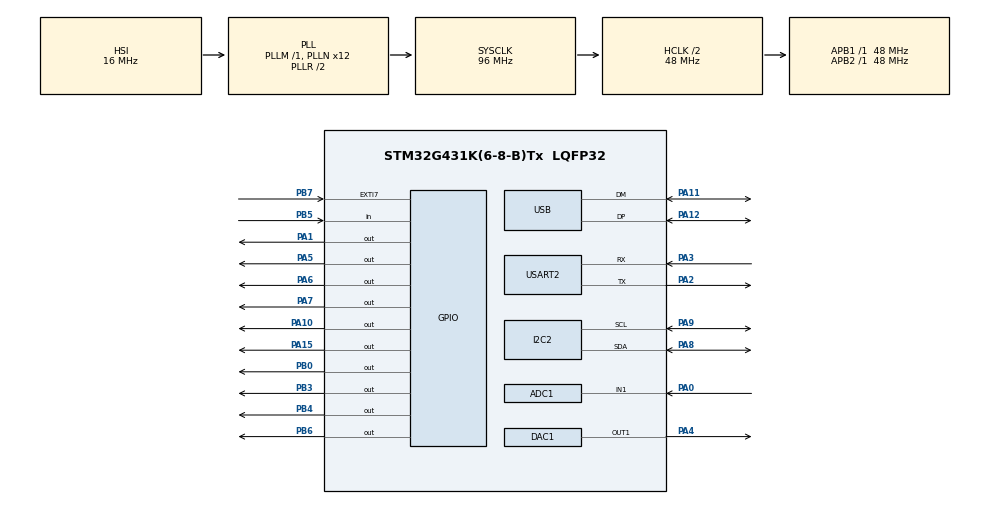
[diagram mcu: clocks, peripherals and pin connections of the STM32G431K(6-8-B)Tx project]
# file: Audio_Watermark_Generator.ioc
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ADC1.Channel-0\#ChannelRegularConversion=ADC_CHANNEL_1
ADC1.NbrOfConversion=1
ADC1.NbrOfConversionFlag=1
ADC1.OffsetNumber-0\#ChannelRegularConversion=ADC_OFFSET_NONE
ADC1.Rank-0\#ChannelRegularConversion=1
ADC1.SamplingTime-0\#ChannelRegularConversion=ADC_SAMPLETIME_640CYCLES_5
ADC1.master=1
DAC1.DAC_Trigger_OUT1-DAC_OUT1=DAC_TRIGGER_T2_TRGO
Dma.DAC1_CH1.0.Direction=DMA_MEMORY_TO_PERIPH
Dma.DAC1_CH1.0.EventEnable=DISABLE
Dma.DAC1_CH1.0.Instance=DMA1_Channel1
Dma.DAC1_CH1.0.MemDataAlignment=DMA_MDATAALIGN_WORD
Dma.DAC1_CH1.0.MemInc=DMA_MINC_ENABLE
Dma.DAC1_CH1.0.Mode=DMA_CIRCULAR
Dma.DAC1_CH1.0.PeriphDataAlignment=DMA_PDATAALIGN_WORD
Dma.DAC1_CH1.0.PeriphInc=DMA_PINC_DISABLE
Dma.DAC1_CH1.0.Polarity=HAL_DMAMUX_REQ_GEN_RISING
Dma.DAC1_CH1.0.Priority=DMA_PRIORITY_LOW
Dma.DAC1_CH1.0.RequestNumber=1
Dma.DAC1_CH1.0.SignalID=NONE
Dma.DAC1_CH1.0.SyncEnable=DISABLE
Dma.DAC1_CH1.0.SyncPolarity=HAL_DMAMUX_SYNC_NO_EVENT
Dma.DAC1_CH1.0.SyncRequestNumber=1
Dma.DAC1_CH1.0.SyncSignalID=NONE
Dma.Request0=DAC1_CH1
I2C2.Timing=0x10805D88
Mcu.Family=STM32G4
Mcu.Name=STM32G431K(6-8-B)Tx
Mcu.Package=LQFP32
NVIC.DMA1_Channel1_IRQn=true\:0\:0\:false\:false\:true\:false\:true\:true
NVIC.PriorityGroup=NVIC_PRIORITYGROUP_4
NVIC.RTC_WKUP_IRQn=true\:0\:0\:false\:false\:true\:true\:true\:true
NVIC.TIM6_DAC_IRQn=true\:0\:0\:false\:false\:true\:true\:true\:true
NVIC.USB_LP_IRQn=true\:0\:0\:false\:false\:true\:false\:true\:true
PA0.Mode=IN1-Single-Ended
PA0.Signal=ADC1_IN1
PA1.Signal=GPIO_Output
PA10.Signal=GPIO_Output
PA11.Mode=Device
PA11.Signal=USB_DM
PA12.Mode=Device
PA12.Signal=USB_DP
PA13.Mode=Serial_Wire
PA13.Signal=SYS_JTMS-SWDIO
PA14.Mode=Serial_Wire
PA14.Signal=SYS_JTCK-SWCLK
PA15.Signal=GPIO_Output
PA2.Mode=Asynchronous
PA2.Signal=USART2_TX
PA3.Mode=Asynchronous
PA3.Signal=USART2_RX
PA4.Signal=COMP_DAC11_group
PA5.Signal=GPIO_Output
PA6.Signal=GPIO_Output
PA7.Signal=GPIO_Output
PA8.Mode=I2C
PA8.Signal=I2C2_SDA
PA9.Mode=I2C
PA9.Signal=I2C2_SCL
PB0.Signal=GPIO_Output
PB3.Signal=GPIO_Output
PB4.Signal=GPIO_Output
PB5.Signal=GPIO_Input
PB6.Signal=GPIO_Output
PB7.Signal=GPXTI7
PF0-OSC_IN.Mode=HSE-External-Oscillator
PF0-OSC_IN.Signal=RCC_OSC_IN
PF1-OSC_OUT.Mode=HSE-External-Oscillator
PF1-OSC_OUT.Signal=RCC_OSC_OUT
ProjectManager.HeapSize=0x400
ProjectManager.StackSize=0x800
ProjectManager.TargetToolchain=CMake
RCC.ADC12Freq_Value=96000000
RCC.AHBCLKDivider=RCC_SYSCLK_DIV2
RCC.AHBFreq_Value=48000000
RCC.APB1Freq_Value=48000000
RCC.APB1TimFreq_Value=48000000
RCC.APB2Freq_Value=48000000
RCC.APB2TimFreq_Value=48000000
RCC.CortexFreq_Value=48000000
RCC.EXTERNAL_CLOCK_VALUE=12288000
RCC.HCLKFreq_Value=48000000
RCC.HSE_VALUE=16000000
RCC.HSI48_VALUE=48000000
RCC.HSI_VALUE=16000000
RCC.LSE_VALUE=32768
RCC.PLLN=12
RCC.PLLQ=RCC_PLLQ_DIV4
RCC.SYSCLKFreq_VALUE=96000000
RCC.SYSCLKSource=RCC_SYSCLKSOURCE_PLLCLK
RCC.USBFreq_Value=48000000
RCC.VCOOutputFreq_Value=192000000
RTC.WakeUpClock=RTC_WAKEUPCLOCK_CK_SPRE_16BITS
RTC.WakeUpCounter=59
SH.COMP_DAC11_group.0=DAC1_OUT1,DAC_OUT1
TIM2.PeriodNoDither=49
TIM2.TIM_MasterOutputTrigger=TIM_TRGO_UPDATE
TIM6.Prescaler=47999
USART2.VirtualMode-Asynchronous=VM_ASYNC
USB_DEVICE.CLASS_NAME_FS=CDC
USB_DEVICE.VirtualMode=Cdc
USB_DEVICE.VirtualModeFS=Cdc_FS
VP_RTC_VS_RTC_Activate.Mode=RTC_Enabled
VP_RTC_VS_RTC_WakeUp_intern.Mode=WakeUp
VP_SYS_VS_DBSignals.Mode=DisableDeadBatterySignals
VP_TIM2_VS_ClockSourceINT.Mode=Internal
VP_TIM6_VS_ClockSourceINT.Mode=Enable_Timer
VP_USB_DEVICE_VS_USB_DEVICE_CDC_FS.Mode=CDC_FS
board=custom

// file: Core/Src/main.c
/* USER CODE BEGIN Header */
/**
 ******************************************************************************
 * @file           : main.c
 * @brief          : Main program body
 ******************************************************************************
 * @attention
 *
 * Copyright (c) 2026 STMicroelectronics.
 * All rights reserved.
 *
 * This software is licensed under terms that can be found in the LICENSE file
 * in the root directory of this software component.
 * If no LICENSE file comes with this software, it is provided AS-IS.
 *
 ******************************************************************************
 */
/* USER CODE END Header */
#include "main.h"
#include "speaker.h"
#include "usb_device.h"

/* USER CODE BEGIN Includes */

// Include headers for custom modules
#include "battery.h"
#include "cc1101.h"
#include "cc1101_config.h"
#include "ds3231.h"
#include "error_codes.h"
#include "flash_flag.h"
#include "frequency_config.h"
#include "led_feedback.h"
#include "log.h"
#include "opamps.h"
#include "radio.h"
#include "reed_solomon.h"
#include "relay.h"
#include "speaker.h"
#include "user_config.h"
#include "wakeup.h"

// Standard library includes
#include <cmsis_gcc.h>
#include <math.h>
#include <stdbool.h>
#include <stddef.h>
#include <stdint.h>
#include <stdio.h>
#include <stdlib.h>
#include <stm32g431xx.h>
#include <stm32g4xx.h>
#include <stm32g4xx_hal.h>
#include <stm32g4xx_hal_dac.h>
#include <stm32g4xx_hal_def.h>
#include <stm32g4xx_hal_gpio.h>
#include <string.h>
#include <sys/_intsup.h>
#include <sys/types.h>
#include <unistd.h>
#include <usbd_cdc_if.h>

/* USER CODE END Includes */

/* USER CODE BEGIN PD */

#define pi 3.14159265358979323846f

#define LEN_IF(cond, lit) ((cond) ? (sizeof(lit) - 1u) : 0u)

#define MAX_NUM_CHARS                                                          \
  (LEN_IF(INCLUDE_USER_STRING, "/STR" USER_STRING) +                           \
   LEN_IF(INCLUDE_DEVICE_ID, "/DID0000") +                                     \
   LEN_IF(INCLUDE_LOCATION, "/LOC00.0000,00.0000") +                           \
   LEN_IF(INCLUDE_TEMPERATURE, "/TMP000") +                                    \
   LEN_IF(INCLUDE_TIME, "/TIM00000000000000") + 4u)

#define MAX_PAYLOAD_BYTES (MAX_NUM_CHARS + RS_ERROR_CORRECTION_SYMBOLS)
#define BITSTREAM_LENGTH (1u + (MAX_PAYLOAD_BYTES * 8u) + 8u)

#define BIT_POLARITY 0

#define DS3231_ADDR (0x68 << 1) // 7-bit addr shifted for HAL
#define T4B_I2C_ADDR_7BIT 0x20
#define T4B_I2C_ADDR_HAL (T4B_I2C_ADDR_7BIT << 1) // 0x40 for HAL

#define DIV_FLOOR(n, d) ((uint32_t)((n) / (d)))
#define DIV_ROUND(n, d) ((uint32_t)(((n) + ((d) / 2u)) / (d)))

#define OUTPUT_SEGMENT 500
#define BUFFER_SIZE (OUTPUT_SEGMENT * 5)

#define SYNC_DELAY_MS 350

/* USER CODE END PD */

ADC_HandleTypeDef hadc1;

DAC_HandleTypeDef hdac1;
DMA_HandleTypeDef hdma_dac1_ch1;

I2C_HandleTypeDef hi2c2;

RTC_HandleTypeDef hrtc;

TIM_HandleTypeDef htim2;
TIM_HandleTypeDef htim6;

UART_HandleTypeDef huart2;

/* USER CODE BEGIN PV */

char input_string[MAX_NUM_CHARS] = {0};

uint8_t bitstream[BITSTREAM_LENGTH] = {0};

volatile uint8_t active_done = 0;

rtc_time_t now = {.seconds = 0,
                  .minutes = 0,
                  .hours = 0,
                  .day = 4,
                  .date = 1,
                  .month = 1,
                  .year = 1970};

int8_t temp_int = 99;

static uint32_t sine_val_low[LUT_LOW_SAMPLES];
static uint32_t sine_val_high[LUT_HIGH_SAMPLES];
static uint32_t dc_mid[LUT_LOW_SAMPLES];

// Pulse Calculation Variables
uint32_t fs = 0;
float total_time = 0.0;

// FSK
typedef struct {
  size_t bit_index;
  size_t current_period;
  size_t current_index;
} FillResult;

__ALIGN_BEGIN uint32_t output_buffer[BUFFER_SIZE] __ALIGN_END;

volatile bool tx_active = true;
volatile size_t current_bitstream_index = 0;
volatile size_t current_sine_period = 0;
volatile size_t current_sine_index = 0;
FillResult result;

uint8_t transmission[256] = {0};
int dBm_value = 0;

freq_pair_t freq_pair = {0};

volatile status_code_t g_error_code = STATUS_CODE_OK;

extern volatile uint8_t cdc_rx_buf[64];
extern volatile uint8_t cdc_rx_len;

uint32_t wake_up_tick = 0;

bool first_boot = true;

extern PCD_HandleTypeDef hpcd_USB_FS;

/* USER CODE END PV */

void SystemClock_Config(void);
static void MX_GPIO_Init(void);
static void MX_DMA_Init(void);
static void MX_ADC1_Init(void);
static void MX_DAC1_Init(void);
static void MX_I2C2_Init(void);
static void MX_TIM2_Init(void);
static void MX_TIM6_Init(void);
static void MX_USART2_UART_Init(void);
static void MX_RTC_Init(void);
/* USER CODE BEGIN PFP */

void EnterStopMode(void);
void calculate_active_duration_ms(size_t bitstream_len);
void StartActiveWindowMs(uint32_t ms);
void make_bitstream_from_bytes(const uint8_t *data, size_t length);
void update_input_string(void);
int make_preamble(int start_idx);
void get_sineval_low(void);
void get_sineval_high(void);
void get_dc_mid(void);
uint32_t get_dac_sample_rate_hz(void);
static void RTC_SetWakeupTimer(uint32_t seconds);

static void start_audio_arm(void);
static void start_audio_trigger(void);
static void stop_audio_transmission(void);

void app_radio_test(void);

void read_buffer(void);

void process_transmission(uint8_t *transmission, int *dBm_value);

void create_payload_string(const char *user_string, int device_id,
                           const char *location, int8_t temperature,
                           rtc_time_t time_val, bool include_message_id,
                           int8_t message_id, int8_t rssi_dbm,
                           uint8_t *output_str, size_t output_str_size);

void create_string_from_received_data(const uint8_t *transmission, int rssi_dbm,
                                      uint8_t *output_str,
                                      size_t output_str_size);

static int init_luts_from_freqpair(void);

void Error_Handler_Code(status_code_t code);

void TryReceiveTimeSync(void);

/* USER CODE END PFP */

int main(void) {

  /* MCU Configuration--------------------------------------------------------*/

  /* Reset of all peripherals, Initializes the Flash interface and the Systick.
   */
  HAL_Init();

  /* Configure the system clock */
  SystemClock_Config();

  /* Initialize all configured peripherals */
  MX_GPIO_Init();
  MX_DMA_Init();
  MX_ADC1_Init();
  MX_DAC1_Init();
  MX_I2C2_Init();
  MX_TIM2_Init();
  MX_TIM6_Init();
  MX_USART2_UART_Init();
  MX_RTC_Init();
  MX_USB_Device_Init();
  /* USER CODE BEGIN 2 */

  if (OPERATION_MODE == 0) {
    LOGF("Starting in RX mode\r\n");
  } else if (OPERATION_MODE == 1) {
    LOGF("Starting in TX mode\r\n");
  } else {
    LOGF("Starting in Standalone mode\r\n");
  }

  //-----------------------------------------------------------------------------//
  // Set DAC output to mid-level (silence) before starting for RX and Standalone
  //-----------------------------------------------------------------------------//

  if (OPERATION_MODE == 0 || OPERATION_MODE == 2) {
    DAC_SetMidlevel(&hdac1, 2048);
  }

  //-----------------------------------------------------------------------------//
  // Initialize UART logging
  //-----------------------------------------------------------------------------//

  LOGF("\r\n");
  LOGF("UART boot OK\r\n");
  HAL_Delay(200);

  /* USER CODE END 2 */

  /* Infinite loop */
  /* USER CODE BEGIN WHILE */

  //-----------------------------------------------------------------------------//
  // Initialize RTC
  //-----------------------------------------------------------------------------//

  if (!FlashFlag_TimeWasSet()) {
    TryReceiveTimeSync();

    FlashFlag_SetTimeWasSet();
  }

  DS3231_PowerOn();
  DS3231_GetTime(&now);
  DS3231_ReadTemperature(&temp_int);
  DS3231_PowerOff();

  LOGF("Current RTC time: %02d:%02d:%02d, %02d/%02d/%04d, DOW: %u\r\n",
       now.hours, now.minutes, now.seconds, now.date, now.month,
       now.year + 2000, now.day);
  LOGF("Temperature: %d°C\r\n", temp_int);

  LOGF("-------------------------\r\n");
  LOGF("\r\n");

  //-----------------------------------------------------------------------------//
  // Set first valid minute for wakeup based on current time and user-configured
  // interval
  //-----------------------------------------------------------------------------//

  if (OPERATION_MODE != 0) {
    WakeUp_Init(now);
  } else {
    LOGF("RX mode - skipping wakeup timer configuration\r\n");
  }

  //-----------------------------------------------------------------------------//
  // Check battery voltage and go back to sleep if low
  //-----------------------------------------------------------------------------//

  Battery_IsLow(&hadc1);

  //-----------------------------------------------------------------------------//
  // Get DAC sample rate and log it
  //-----------------------------------------------------------------------------//

  uint32_t dac_sample_rate = get_dac_sample_rate_hz();
  LOGF("DAC sample rate: %lu Hz\r\n", (unsigned long)dac_sample_rate);
  LOGF("\r\n");

  //-----------------------------------------------------------------------------//
  // Find and set FSK frequencies based on user config and sample count
  // requirements (RX and Standalone modes)
  //-----------------------------------------------------------------------------//
  if (OPERATION_MODE != 1) {
    freq_pair = FreqConfig_FindFreqPair(dac_sample_rate);

    LOGF("Frequency pair: lower=%u Hz, higher=%u Hz\r\n",
         (unsigned int)freq_pair.lower_freq,
         (unsigned int)freq_pair.higher_freq);
    LOGF("--------------------------\r\n");
    LOGF("\r\n");
  } else {
    LOGF("Skipping finding frequencies\r\n");
  }

  //-----------------------------------------------------------------------------//
  // Prepare sine wave lookup tables
  //-----------------------------------------------------------------------------//

  if (OPERATION_MODE != 1) {
    if (init_luts_from_freqpair() != 0) {
      LOGF("LUT alloc failed\r\n");
      LOGF("--------------------------\r\n");
      Error_Handler_Code(STATUS_CODE_LUT_ALLOC_FAIL);
    }

    get_sineval_low();
    get_sineval_high();
    get_dc_mid();
  } else {
    LOGF("Skipping LUT preparation \r\n");
  }

  //-----------------------------------------------------------------------------//
  // Initialize radio for RX or TX mode
  //-----------------------------------------------------------------------------//

  if (OPERATION_MODE != 2) {
    HAL_Delay(20);
    int8_t init_result = Radio_Init(OPERATION_MODE);
    if (init_result != 0) {
      LOGF("Failed to initialize radio in %s mode, error code: %d\r\n",
           OPERATION_MODE == 0 ? "RX" : "TX", init_result);
      LOGF("--------------------------\r\n");
      LOGF("\r\n");
      Error_Handler_Code(init_result);
    }

    // Wait for crystal to stabilize
    uint8_t timeout = 100; // 100ms max
    while (timeout--) {
      uint8_t xosc_val = 0;
      uint8_t status = 0;
      CC1101_ReadReg(0x24, &xosc_val, &status); // 0x24 is XOSC register

      if (xosc_val & 0x01) { // XOSC_STABLE bit
        break;
      }
      HAL_Delay(1);
    }

    if (timeout == 0) {
      printf("ERROR: XOSC failed to stabilize\n");
    } else {
      printf("XOSC stabilized\n");
    }
    HAL_Delay(10);
    // int8_t cal_result = Radio_CalibrateXtalFrequency();
    // if (cal_result != 0) {
    //   LOGF("Warning: XTAL calibration returned error %d\r\n", cal_result);
    // }
  } else {
    LOGF("No radio in standalone mode - skipping radio initialization\r\n");

    // Power down CC1101 since we don't use it in standalone
    HAL_Delay(20);
    CC1101_PowerUpReset();
    HAL_Delay(10);

    // Put it in sleep to save power
    Radio_EnterSleep();
    LOGF("CC1101 powered down for standalone mode\r\n");
  }

  //-----------------------------------------------------------------------------//
  // Indicate boot complete with LED blinks
  //-----------------------------------------------------------------------------//

  LED_BlinkStatusCode(STATUS_CODE_OK); // code 0 = "0000" = 4 short blinks

  //-----------------------------------------------------------------------------//
  // Configure first wakeup timer for TX and Standalone modes
  //-----------------------------------------------------------------------------//

  Relay_SetBypassMode();
  if (OPERATION_MODE != 0) {
    LOGF("Setting first alarm for TX and Standalone mode\r\n");
    RTC_SetWakeupTimer(1); // 1 minute
  }

  //-----------------------------------------------------------------------------//
  // Main loop
  //-----------------------------------------------------------------------------//
  LOGF("\r\n");
  LOGF("Entering main loop...\r\n");
  LOGF("\r\n");

  DS3231_PowerOn();
  HAL_Delay(40);
  DS3231_GetTime(&now);
  DS3231_ReadTemperature(&temp_int);
  DS3231_PowerOff();

  int32_t wait_ms = 0;

  while (1) {
    // 1) Enter STOP mode and wait for wakeup from EXTI (GPIOB Pin 7) or RTC
    // wakeup timer
    LOGF("Entering STOP mode...\r\n");
    EnterStopMode();
    wake_up_tick = HAL_GetTick();
    DS3231_PowerOn();

    // Set new wake up alarm for next cycle immediately after waking up
    // 55 seconds ensure we wake up in every minute to check if it's the valid
    // minute for operation, even if we miss the exact wakeup timer match due to
    // timing variations
    if (OPERATION_MODE != 0) {
      uint32_t sleep_seconds = 55;
      RTC_SetWakeupTimer(sleep_seconds);
    }

    // 2) Check battery voltage and go back to sleep if low
    Battery_IsLow(&hadc1);

    // Update current minute from RTC
    DS3231_GetTime(&now);
    DS3231_ReadTemperature(&temp_int);

    // Check if we are in the active window based on the current minute and
    // configured intervals, and if not, go back to sleep
    // Only for TX and Standalone modes
    if (OPERATION_MODE != 0) {
      if (!WakeUp_CheckCurrentMinute(now)) {
        LOGF("Took %lu ms to check wakeup time\r\n",
             (unsigned long)(HAL_GetTick() - wake_up_tick));
        LOGF("Not in active window, going back to sleep...\r\n");
        DS3231_PowerOff();
        continue;
      }
    }

    if (OPERATION_MODE == 0) {
      LOGF("Woke up for RX reception\r\n");
      DS3231_PowerOn();

      if (USE_CABLE_TRANSMISSION) {
        Opamps_Enable(&hdac1);
        Relay_SetMixingMode();
      } else {
        Speaker_TurnOn();
      }

      // RX mode: read from radio and store in string
      int rx_len = Radio_Receive(transmission, sizeof(transmission));
      if (rx_len <= 4 || memchr(transmission, '/', rx_len) == NULL) {
        LOGF(
            "Failed to receive valid transmission, going back to sleep...\r\n");
        DS3231_PowerOff();
        Radio_EnterWOR();
        continue;
      }

      // Process received transmission
      process_transmission(transmission, &dBm_value);

      // 2) Get current time from RTC
      DS3231_GetTime(&now);
      DS3231_ReadTemperature(&temp_int);
      DS3231_PowerOff();

      // Create output string based on received data (e.g.
      // "/TIM.../STR.../DID.../LOC.../TMP...")
      uint8_t output_str[256] = {0};
      create_string_from_received_data(transmission, dBm_value, output_str,
                                       sizeof(output_str));

      size_t payload_len = strlen((char *)output_str);

      if (USE_REED_SOLOMON_ERROR_CORRECTION) {
        // Prepare buffer for Reed-Solomon codeword (message + parity)
        uint8_t codeword[payload_len + RS_ERROR_CORRECTION_SYMBOLS];
        memset(codeword, 0, sizeof(codeword));

        // Encode the output string using Reed-Solomon
        RS_EncodeMsg((const uint8_t *)output_str, (int)payload_len, codeword,
                     RS_ERROR_CORRECTION_SYMBOLS);

        // Set output_str to the codeword for transmission (truncated to fit
        // if necessary)
        size_t codeword_len = payload_len + RS_ERROR_CORRECTION_SYMBOLS;
        if (codeword_len > sizeof(output_str)) {
          codeword_len = sizeof(output_str);
        }
        memcpy(output_str, codeword, codeword_len);
        payload_len = codeword_len;
      }

      // Make bitstream from output string
      make_bitstream_from_bytes(output_str, payload_len);

      calculate_active_duration_ms(BITSTREAM_LENGTH);
      uint32_t total_ms = (uint32_t)(total_time * 1000.0f);

      start_audio_arm();

      uint32_t target_tick = wake_up_tick + SYNC_DELAY_MS;
      wait_ms = (int32_t)(target_tick - HAL_GetTick());
      if (wait_ms > 1) {
        HAL_Delay((uint32_t)(wait_ms - 1));
      }
      while (__HAL_UART_GET_FLAG(&huart2, UART_FLAG_TC) == RESET)
        ;
      __HAL_UART_DISABLE(&huart2);
      while (HAL_GetTick() < target_tick)
        ;
      (void)SysTick->CTRL; // clear COUNTFLAG by reading it
      // Now align to the next SysTick rollover for sub-ms precision
      // SysTick counts DOWN from LOAD to 0, then reloads - catch the reload
      // moment
      while ((SysTick->CTRL & SysTick_CTRL_COUNTFLAG_Msk) == 0)
        ;

      start_audio_trigger();
      __HAL_UART_ENABLE(&huart2);

      // Wait for active window to complete (enters low-power sleep while
      // waiting)
      StartActiveWindowMs((uint32_t)(total_ms));

      uint32_t last_toggle = HAL_GetTick();
      while (!active_done) {
        uint32_t now = HAL_GetTick();
        if ((now - last_toggle) >= 100) { // blink every 100 ms
          last_toggle = now;
          LED_Toggle();
        }
        __WFI(); // CPU sleeps while DMA+TIM2+DAC run
      }
      active_done = 0;
      HAL_GPIO_WritePin(LED_GPIO_Port, LED_Pin, GPIO_PIN_RESET);

      // Stop transmission and go back to sleep
      stop_audio_transmission();

      Radio_EnterWOR();

    } else if (OPERATION_MODE == 1) {
      LOGF("Woke up for TX transmission\r\n");
      Radio_EnterIdle();

      // Send transmission over radio
      LOGF("Starting transmission over radio...\r\n");
      // Toggle on Relay to make click sound at start of transmission for easier
      // analysis
      Relay_SetMixingMode();

      LED_ON();

      uint32_t radio_tx_start = HAL_GetTick();
      Radio_Transmit();
      uint32_t radio_tx_end = HAL_GetTick();

      LOGF("Radio transmission took %lu ms\r\n",
           (unsigned long)(radio_tx_end - radio_tx_start));
      Relay_SetBypassMode();
      LED_OFF();

      Radio_EnterSleep();
    } else {
      LOGF("Woke up for Standalone mode\r\n");
      DS3231_PowerOn();

      if (USE_CABLE_TRANSMISSION) {
        Opamps_Enable(&hdac1);
        Relay_SetMixingMode();
      } else {
        Speaker_TurnOn();
      }

      // 1) Get current time and temperature from RTC
      DS3231_GetTime(&now);
      DS3231_ReadTemperature(&temp_int);
      DS3231_PowerOff();

      // Create output string based on received data (e.g.
      // "/TIM.../STR.../DID.../LOC.../TMP...")
      uint8_t output_str[256] = {0};
      create_payload_string(INCLUDE_USER_STRING ? USER_STRING : NULL,
                            INCLUDE_DEVICE_ID ? DEVICE_ID : -1,
                            INCLUDE_LOCATION ? LOCATION : NULL,
                            INCLUDE_TEMPERATURE ? temp_int : -1, now, false, -1,
                            0, output_str, sizeof(output_str));

      size_t payload_len = strlen((char *)output_str);

      if (USE_REED_SOLOMON_ERROR_CORRECTION) {
        // Prepare buffer for Reed-Solomon codeword (message + parity)
        uint8_t codeword[payload_len + RS_ERROR_CORRECTION_SYMBOLS];
        memset(codeword, 0, sizeof(codeword));

        // Encode the output string using Reed-Solomon
        RS_EncodeMsg((const uint8_t *)output_str, (int)payload_len, codeword,
                     RS_ERROR_CORRECTION_SYMBOLS);

        // Set output_str to the codeword for transmission (truncated to fit
        // if necessary)
        size_t codeword_len = payload_len + RS_ERROR_CORRECTION_SYMBOLS;
        if (codeword_len > sizeof(output_str)) {
          codeword_len = sizeof(output_str);
        }
        memcpy(output_str, codeword, codeword_len);
        payload_len = codeword_len;
      }

      // Make bitstream from output string
      make_bitstream_from_bytes(output_str, payload_len);

      calculate_active_duration_ms(BITSTREAM_LENGTH);
      uint32_t total_ms = (uint32_t)(total_time * 1000.0f);

      start_audio_arm();

      uint32_t target_tick = wake_up_tick + SYNC_DELAY_MS;
      wait_ms = (int32_t)(target_tick - HAL_GetTick());
      if (wait_ms > 1) {
        HAL_Delay((uint32_t)(wait_ms - 1));
      }
      while (__HAL_UART_GET_FLAG(&huart2, UART_FLAG_TC) == RESET)
        ;
      __HAL_UART_DISABLE(&huart2);
      while (HAL_GetTick() < target_tick)
        ;
      (void)SysTick->CTRL; // clear COUNTFLAG by reading it
      // Now align to the next SysTick rollover for sub-ms precision
      // SysTick counts DOWN from LOAD to 0, then reloads - catch the reload
      // moment
      while ((SysTick->CTRL & SysTick_CTRL_COUNTFLAG_Msk) == 0)
        ;

      start_audio_trigger();

      // Wait for active window to complete (enters low-power sleep while
      // waiting)
      StartActiveWindowMs((uint32_t)(total_ms));

      uint32_t last_toggle = HAL_GetTick();
      uint32_t now = 0;
      while (!active_done) {
        now = HAL_GetTick();
        if ((now - last_toggle) >= 100) { // blink every 100 ms
          last_toggle = now;
          LED_Toggle();
        }
        __WFI(); // CPU sleeps while DMA+TIM2+DAC run
      }
      active_done = 0;
      HAL_GPIO_WritePin(LED_GPIO_Port, LED_Pin, GPIO_PIN_RESET);

      // Stop transmission and go back to sleep
      stop_audio_transmission();
    }

    /* USER CODE END WHILE */

  }
}

void SystemClock_Config(void) {
  RCC_OscInitTypeDef RCC_OscInitStruct = {0};
  RCC_ClkInitTypeDef RCC_ClkInitStruct = {0};

  /** Configure the main internal regulator output voltage
   */
  HAL_PWREx_ControlVoltageScaling(PWR_REGULATOR_VOLTAGE_SCALE1);

  /** Initializes the RCC Oscillators according to the specified parameters
   * in the RCC_OscInitTypeDef structure.
   */
  RCC_OscInitStruct.OscillatorType =
      RCC_OSCILLATORTYPE_HSI | RCC_OSCILLATORTYPE_LSI;
  RCC_OscInitStruct.HSIState = RCC_HSI_ON;
  RCC_OscInitStruct.HSICalibrationValue = RCC_HSICALIBRATION_DEFAULT;
  RCC_OscInitStruct.LSIState = RCC_LSI_ON;
  RCC_OscInitStruct.PLL.PLLState = RCC_PLL_ON;
  RCC_OscInitStruct.PLL.PLLSource = RCC_PLLSOURCE_HSI;
  RCC_OscInitStruct.PLL.PLLM = RCC_PLLM_DIV1;
  RCC_OscInitStruct.PLL.PLLN = 12;
  RCC_OscInitStruct.PLL.PLLP = RCC_PLLP_DIV2;
  RCC_OscInitStruct.PLL.PLLQ = RCC_PLLQ_DIV4;
  RCC_OscInitStruct.PLL.PLLR = RCC_PLLR_DIV2;
  if (HAL_RCC_OscConfig(&RCC_OscInitStruct) != HAL_OK) {
    Error_Handler();
  }

  /** Initializes the CPU, AHB and APB buses clocks
   */
  RCC_ClkInitStruct.ClockType = RCC_CLOCKTYPE_HCLK | RCC_CLOCKTYPE_SYSCLK |
                                RCC_CLOCKTYPE_PCLK1 | RCC_CLOCKTYPE_PCLK2;
  RCC_ClkInitStruct.SYSCLKSource = RCC_SYSCLKSOURCE_PLLCLK;
  RCC_ClkInitStruct.AHBCLKDivider = RCC_SYSCLK_DIV2;
  RCC_ClkInitStruct.APB1CLKDivider = RCC_HCLK_DIV1;
  RCC_ClkInitStruct.APB2CLKDivider = RCC_HCLK_DIV1;

  if (HAL_RCC_ClockConfig(&RCC_ClkInitStruct, FLASH_LATENCY_1) != HAL_OK) {
    Error_Handler();
  }
}

static void MX_ADC1_Init(void) {

  ADC_MultiModeTypeDef multimode = {0};
  ADC_ChannelConfTypeDef sConfig = {0};

  /** Common config
   */
  hadc1.Instance = ADC1;
  hadc1.Init.ClockPrescaler = ADC_CLOCK_SYNC_PCLK_DIV2;
  hadc1.Init.Resolution = ADC_RESOLUTION_12B;
  hadc1.Init.DataAlign = ADC_DATAALIGN_RIGHT;
  hadc1.Init.GainCompensation = 0;
  hadc1.Init.ScanConvMode = ADC_SCAN_DISABLE;
  hadc1.Init.EOCSelection = ADC_EOC_SINGLE_CONV;
  hadc1.Init.LowPowerAutoWait = DISABLE;
  hadc1.Init.ContinuousConvMode = DISABLE;
  hadc1.Init.NbrOfConversion = 1;
  hadc1.Init.DiscontinuousConvMode = DISABLE;
  hadc1.Init.ExternalTrigConv = ADC_SOFTWARE_START;
  hadc1.Init.ExternalTrigConvEdge = ADC_EXTERNALTRIGCONVEDGE_NONE;
  hadc1.Init.DMAContinuousRequests = DISABLE;
  hadc1.Init.Overrun = ADC_OVR_DATA_PRESERVED;
  hadc1.Init.OversamplingMode = DISABLE;
  if (HAL_ADC_Init(&hadc1) != HAL_OK) {
    Error_Handler();
  }

  /** Configure the ADC multi-mode
   */
  multimode.Mode = ADC_MODE_INDEPENDENT;
  if (HAL_ADCEx_MultiModeConfigChannel(&hadc1, &multimode) != HAL_OK) {
    Error_Handler();
  }

  /** Configure Regular Channel
   */
  sConfig.Channel = ADC_CHANNEL_1;
  sConfig.Rank = ADC_REGULAR_RANK_1;
  sConfig.SamplingTime = ADC_SAMPLETIME_640CYCLES_5;
  sConfig.SingleDiff = ADC_SINGLE_ENDED;
  sConfig.OffsetNumber = ADC_OFFSET_NONE;
  sConfig.Offset = 0;
  if (HAL_ADC_ConfigChannel(&hadc1, &sConfig) != HAL_OK) {
    Error_Handler();
  }
}

static void MX_DAC1_Init(void) {

  DAC_ChannelConfTypeDef sConfig = {0};

  /** DAC Initialization
   */
  hdac1.Instance = DAC1;
  if (HAL_DAC_Init(&hdac1) != HAL_OK) {
    Error_Handler();
  }

  /** DAC channel OUT1 config
   */
  sConfig.DAC_HighFrequency = DAC_HIGH_FREQUENCY_INTERFACE_MODE_AUTOMATIC;
  sConfig.DAC_DMADoubleDataMode = DISABLE;
  sConfig.DAC_SignedFormat = DISABLE;
  sConfig.DAC_SampleAndHold = DAC_SAMPLEANDHOLD_DISABLE;
  sConfig.DAC_Trigger = DAC_TRIGGER_T2_TRGO;
  sConfig.DAC_Trigger2 = DAC_TRIGGER_NONE;
  sConfig.DAC_OutputBuffer = DAC_OUTPUTBUFFER_ENABLE;
  sConfig.DAC_ConnectOnChipPeripheral = DAC_CHIPCONNECT_EXTERNAL;
  sConfig.DAC_UserTrimming = DAC_TRIMMING_FACTORY;
  if (HAL_DAC_ConfigChannel(&hdac1, &sConfig, DAC_CHANNEL_1) != HAL_OK) {
    Error_Handler();
  }
}

static void MX_I2C2_Init(void) {
  /* USER CODE BEGIN I2C2_Init 0 */
  __HAL_RCC_I2C2_CLK_ENABLE(); // <-- ADD THIS

  /* USER CODE END I2C2_Init 0 */

  hi2c2.Instance = I2C2;
  hi2c2.Init.Timing = 0x10805D88;
  hi2c2.Init.OwnAddress1 = 0;
  hi2c2.Init.AddressingMode = I2C_ADDRESSINGMODE_7BIT;
  hi2c2.Init.DualAddressMode = I2C_DUALADDRESS_DISABLE;
  hi2c2.Init.OwnAddress2 = 0;
  hi2c2.Init.OwnAddress2Masks = I2C_OA2_NOMASK;
  hi2c2.Init.GeneralCallMode = I2C_GENERALCALL_DISABLE;
  hi2c2.Init.NoStretchMode = I2C_NOSTRETCH_DISABLE;
  if (HAL_I2C_Init(&hi2c2) != HAL_OK) {
    Error_Handler();
  }

  /** Configure Analogue filter
   */
  if (HAL_I2CEx_ConfigAnalogFilter(&hi2c2, I2C_ANALOGFILTER_ENABLE) != HAL_OK) {
    Error_Handler();
  }

  /** Configure Digital filter
   */
  if (HAL_I2CEx_ConfigDigitalFilter(&hi2c2, 0) != HAL_OK) {
    Error_Handler();
  }
}

static void MX_RTC_Init(void) {

  /** Initialize RTC Only
   */
  hrtc.Instance = RTC;
  hrtc.Init.HourFormat = RTC_HOURFORMAT_24;
  hrtc.Init.AsynchPrediv = 127;
  hrtc.Init.SynchPrediv = 255;
  hrtc.Init.OutPut = RTC_OUTPUT_DISABLE;
  hrtc.Init.OutPutRemap = RTC_OUTPUT_REMAP_NONE;
  hrtc.Init.OutPutPolarity = RTC_OUTPUT_POLARITY_HIGH;
  hrtc.Init.OutPutType = RTC_OUTPUT_TYPE_OPENDRAIN;
  hrtc.Init.OutPutPullUp = RTC_OUTPUT_PULLUP_NONE;
  if (HAL_RTC_Init(&hrtc) != HAL_OK) {
    Error_Handler();
  }

  /** Enable the WakeUp
   */
  if (HAL_RTCEx_SetWakeUpTimer_IT(&hrtc, 59, RTC_WAKEUPCLOCK_CK_SPRE_16BITS) !=
      HAL_OK) {
    Error_Handler();
  }
  /* USER CODE BEGIN RTC_Init 2 */

  // Stop the RTC wakeup timer for now - we'll start it when we go to sleep
  HAL_RTCEx_DeactivateWakeUpTimer(&hrtc);

  /* USER CODE END RTC_Init 2 */
}

static void MX_TIM2_Init(void) {

  TIM_ClockConfigTypeDef sClockSourceConfig = {0};
  TIM_MasterConfigTypeDef sMasterConfig = {0};

  htim2.Instance = TIM2;
  htim2.Init.Prescaler = 0;
  htim2.Init.CounterMode = TIM_COUNTERMODE_UP;
  htim2.Init.Period = 24;
  htim2.Init.ClockDivision = TIM_CLOCKDIVISION_DIV1;
  htim2.Init.AutoReloadPreload = TIM_AUTORELOAD_PRELOAD_DISABLE;
  if (HAL_TIM_Base_Init(&htim2) != HAL_OK) {
    Error_Handler();
  }
  sClockSourceConfig.ClockSource = TIM_CLOCKSOURCE_INTERNAL;
  if (HAL_TIM_ConfigClockSource(&htim2, &sClockSourceConfig) != HAL_OK) {
    Error_Handler();
  }
  sMasterConfig.MasterOutputTrigger = TIM_TRGO_UPDATE;
  sMasterConfig.MasterSlaveMode = TIM_MASTERSLAVEMODE_DISABLE;
  if (HAL_TIMEx_MasterConfigSynchronization(&htim2, &sMasterConfig) != HAL_OK) {
    Error_Handler();
  }
}

static void MX_TIM6_Init(void) {

  TIM_MasterConfigTypeDef sMasterConfig = {0};

  htim6.Instance = TIM6;
  htim6.Init.Prescaler = 47999;
  htim6.Init.CounterMode = TIM_COUNTERMODE_UP;
  htim6.Init.Period = 65535;
  htim6.Init.AutoReloadPreload = TIM_AUTORELOAD_PRELOAD_DISABLE;
  if (HAL_TIM_Base_Init(&htim6) != HAL_OK) {
    Error_Handler();
  }
  sMasterConfig.MasterOutputTrigger = TIM_TRGO_RESET;
  sMasterConfig.MasterSlaveMode = TIM_MASTERSLAVEMODE_DISABLE;
  if (HAL_TIMEx_MasterConfigSynchronization(&htim6, &sMasterConfig) != HAL_OK) {
    Error_Handler();
  }
}

static void MX_USART2_UART_Init(void) {

  huart2.Instance = USART2;
  huart2.Init.BaudRate = 115200;
  huart2.Init.WordLength = UART_WORDLENGTH_8B;
  huart2.Init.StopBits = UART_STOPBITS_1;
  huart2.Init.Parity = UART_PARITY_NONE;
  huart2.Init.Mode = UART_MODE_TX_RX;
  huart2.Init.HwFlowCtl = UART_HWCONTROL_NONE;
  huart2.Init.OverSampling = UART_OVERSAMPLING_16;
  huart2.Init.OneBitSampling = UART_ONE_BIT_SAMPLE_DISABLE;
  huart2.Init.ClockPrescaler = UART_PRESCALER_DIV1;
  huart2.AdvancedInit.AdvFeatureInit = UART_ADVFEATURE_NO_INIT;
  if (HAL_UART_Init(&huart2) != HAL_OK) {
    Error_Handler();
  }
  if (HAL_UARTEx_SetTxFifoThreshold(&huart2, UART_TXFIFO_THRESHOLD_1_8) !=
      HAL_OK) {
    Error_Handler();
  }
  if (HAL_UARTEx_SetRxFifoThreshold(&huart2, UART_RXFIFO_THRESHOLD_1_8) !=
      HAL_OK) {
    Error_Handler();
  }
  if (HAL_UARTEx_DisableFifoMode(&huart2) != HAL_OK) {
    Error_Handler();
  }
}

static void MX_DMA_Init(void) {
  /* DMA controller clock enable */
  __HAL_RCC_DMAMUX1_CLK_ENABLE();
  __HAL_RCC_DMA1_CLK_ENABLE();

  /* DMA interrupt init */
  /* DMA1_Channel1_IRQn interrupt configuration */
  HAL_NVIC_SetPriority(DMA1_Channel1_IRQn, 0, 0);
  HAL_NVIC_EnableIRQ(DMA1_Channel1_IRQn);
}

static void MX_GPIO_Init(void) {
  GPIO_InitTypeDef GPIO_InitStruct = {0};

  /* GPIO Ports Clock Enable */
  __HAL_RCC_GPIOF_CLK_ENABLE();
  __HAL_RCC_GPIOA_CLK_ENABLE();
  __HAL_RCC_GPIOB_CLK_ENABLE();

  /*Configure GPIO pin Output Level */
  HAL_GPIO_WritePin(GPIOA,
                    GPIO_PIN_1 | GPIO_PIN_5 | GPIO_PIN_6 | GPIO_PIN_7 |
                        GPIO_PIN_10 | GPIO_PIN_15,
                    GPIO_PIN_RESET);

  /*Configure GPIO pin Output Level */
  HAL_GPIO_WritePin(GPIOB, GPIO_PIN_0 | GPIO_PIN_3 | GPIO_PIN_4 | GPIO_PIN_6,
                    GPIO_PIN_RESET);

  /*Configure GPIO pins : PA1 PA5 PA6 PA7
                           PA10 PA15 */
  GPIO_InitStruct.Pin = GPIO_PIN_1 | GPIO_PIN_5 | GPIO_PIN_6 | GPIO_PIN_7 |
                        GPIO_PIN_10 | GPIO_PIN_15;
  GPIO_InitStruct.Mode = GPIO_MODE_OUTPUT_PP;
  GPIO_InitStruct.Pull = GPIO_NOPULL;
  GPIO_InitStruct.Speed = GPIO_SPEED_FREQ_LOW;
  HAL_GPIO_Init(GPIOA, &GPIO_InitStruct);

  /*Configure GPIO pins : PB0 PB3 PB4 PB6 */
  GPIO_InitStruct.Pin = GPIO_PIN_0 | GPIO_PIN_3 | GPIO_PIN_4 | GPIO_PIN_6;
  GPIO_InitStruct.Mode = GPIO_MODE_OUTPUT_PP;
  GPIO_InitStruct.Pull = GPIO_NOPULL;
  GPIO_InitStruct.Speed = GPIO_SPEED_FREQ_LOW;
  HAL_GPIO_Init(GPIOB, &GPIO_InitStruct);

  /*Configure GPIO pin : PB5 */
  GPIO_InitStruct.Pin = GPIO_PIN_5;
  GPIO_InitStruct.Mode = GPIO_MODE_INPUT;
  GPIO_InitStruct.Pull = GPIO_NOPULL;
  HAL_GPIO_Init(GPIOB, &GPIO_InitStruct);

  /*Configure GPIO pin : PB7 */
  GPIO_InitStruct.Pin = GPIO_PIN_7;
  GPIO_InitStruct.Mode = GPIO_MODE_IT_RISING;
  GPIO_InitStruct.Pull = GPIO_NOPULL;
  HAL_GPIO_Init(GPIOB, &GPIO_InitStruct);

}

/* USER CODE BEGIN 4 */

void EnterStopMode(void) {
  __HAL_GPIO_EXTI_CLEAR_IT(GPIO_PIN_7);
  HAL_NVIC_ClearPendingIRQ(EXTI9_5_IRQn);
  __HAL_RTC_WAKEUPTIMER_CLEAR_FLAG(&hrtc, RTC_FLAG_WUTF);
  PWR->SCR = PWR_SCR_CWUF;

  DBGMCU->CR &=
      ~(DBGMCU_CR_DBG_STOP | DBGMCU_CR_DBG_SLEEP | DBGMCU_CR_DBG_STANDBY);

  if (OPERATION_MODE == 0) {
    HAL_RTCEx_DeactivateWakeUpTimer(&hrtc);
    HAL_NVIC_EnableIRQ(EXTI9_5_IRQn);
  } else {
    HAL_NVIC_DisableIRQ(EXTI9_5_IRQn);
    HAL_NVIC_EnableIRQ(RTC_WKUP_IRQn);
  }

  __DSB();
  __ISB();
  HAL_SuspendTick();
  HAL_PWREx_EnterSTOP1Mode(PWR_STOPENTRY_WFI);

  SystemClock_Config();
  HAL_ResumeTick();
  HAL_GPIO_WritePin(GPIOA, GPIO_PIN_15, GPIO_PIN_SET);
  MX_I2C2_Init();
  MX_USART2_UART_Init();
  __HAL_UART_ENABLE(&huart2); // <-- ADD THIS

  // // Force USB peripheral reset and reinit
  // HAL_PCD_DeInit(&hpcd_USB_FS); // Deinit the PCD handle first
  // HAL_Delay(10);
  // MX_USB_Device_Init();

  // HAL_Delay(5000); // <-- ADD THIS: wait for USB to stabilize

  HAL_Delay(10);
  HAL_GPIO_WritePin(GPIOA, GPIO_PIN_15, GPIO_PIN_RESET);
  wake_up_tick = HAL_GetTick();

  // RX only: wait for GDO0 to deassert after wakeup
  if (OPERATION_MODE == 0) {
    uint32_t settle = HAL_GetTick();
    while (HAL_GPIO_ReadPin(GPIOB, GPIO_PIN_7) == GPIO_PIN_RESET &&
           HAL_GetTick() - settle < 5) {
    }
  }

  HAL_NVIC_EnableIRQ(EXTI9_5_IRQn);
  if (OPERATION_MODE == 0) {
    __HAL_GPIO_EXTI_CLEAR_IT(GPIO_PIN_7);
    HAL_NVIC_ClearPendingIRQ(EXTI9_5_IRQn);
  } else {
    __HAL_RTC_WAKEUPTIMER_CLEAR_FLAG(&hrtc, RTC_FLAG_WUTF);
  }
  __HAL_PWR_CLEAR_FLAG(PWR_FLAG_WU);
  PWR->SCR = PWR_SCR_CWUF;
}

void StartActiveWindowMs(uint32_t ms) {
  active_done = 0;

  if (ms == 0) {
    ms = 1;
  }

  HAL_TIM_Base_Stop_IT(&htim6);
  __HAL_TIM_SET_COUNTER(&htim6, 0);
  __HAL_TIM_SET_AUTORELOAD(&htim6, ms - 1);

  __HAL_TIM_CLEAR_FLAG(&htim6, TIM_FLAG_UPDATE);
  __HAL_TIM_CLEAR_IT(&htim6, TIM_IT_UPDATE);

  HAL_TIM_Base_Start_IT(&htim6);
}

void HAL_TIM_PeriodElapsedCallback(TIM_HandleTypeDef *htim) {
  if (htim->Instance == TIM6) {
    HAL_TIM_Base_Stop_IT(&htim6); // <- makes it one-shot reliably
    active_done = 1;
  }
}

int make_preamble(int start_idx) {
  int k = start_idx;
  uint16_t id = 0x2DD4;
  for (int i = 0; i < 16 && k < BITSTREAM_LENGTH; ++i) {
    bitstream[k++] = (((id >> (15 - i)) & 1) ^ BIT_POLARITY);
  }

  return k;
}
void make_bitstream_from_bytes(const uint8_t *data, size_t length) {
  size_t k = 0;

  if (k < BITSTREAM_LENGTH) {
    bitstream[k++] = 2; // silence
  }

  for (size_t i = 0; i < length && k < BITSTREAM_LENGTH; ++i) {
    for (int b = 7; b >= 0 && k < BITSTREAM_LENGTH; --b) {
      bitstream[k++] = (uint8_t)(((data[i] >> b) & 1u) ^ BIT_POLARITY);
    }
  }

  for (int i = 0; i < 8 && k < BITSTREAM_LENGTH; ++i) {
    bitstream[k++] = 2; // silence
  }

  while (k < BITSTREAM_LENGTH) {
    bitstream[k++] = 2; // silence
  }
}

void update_input_string(void) {
  input_string[0] = '\0';
  size_t offset = 0;
  size_t remaining = MAX_NUM_CHARS;
  int n = 0;

  // Append USER_STRING if enabled
  if (INCLUDE_USER_STRING) {
    n = snprintf(&input_string[offset], remaining, "/STR%s", USER_STRING);
    if (n > 0 && (size_t)n < remaining) {
      offset += (size_t)n;
      remaining -= (size_t)n;
    }
  }
  // Append DEVICE_ID if enabled
  if (INCLUDE_DEVICE_ID) {
    n = snprintf(&input_string[offset], remaining, "%s/DID%d",
                 (offset > 0) ? "" : "", DEVICE_ID);
    if (n > 0 && (size_t)n < remaining) {
      offset += (size_t)n;
      remaining -= (size_t)n;
    }
  }
  // Append LOCATION if enabled
  if (INCLUDE_LOCATION) {
    n = snprintf(&input_string[offset], remaining, "%s/LOC%s",
                 (offset > 0) ? "" : "", LOCATION);
    if (n > 0 && (size_t)n < remaining) {
      offset += (size_t)n;
      remaining -= (size_t)n;
    }
  }
  // Append TEMPERATURE if enabled
  if (INCLUDE_TEMPERATURE) {
    n = snprintf(&input_string[offset], remaining, "%s/TMP%d",
                 (offset > 0) ? "" : "", temp_int);
    if (n > 0 && (size_t)n < remaining) {
      offset += (size_t)n;
      remaining -= (size_t)n;
    }
  }
  // Append TIME if enabled
  if (INCLUDE_TIME) {
    n = snprintf(&input_string[offset], remaining,
                 "%s/TIM%02d%02d%02d%02d%02d%02d%04d", (offset > 0) ? "" : "",
                 now.hours, now.minutes, now.seconds, now.day, now.date,
                 now.month, now.year);

    if (n > 0 && (size_t)n < remaining) {
      offset += (size_t)n;
      remaining -= (size_t)n;
    }
  }
  // Add termination sign
  if (strlen(input_string) > 0) {
    n = snprintf(&input_string[offset], remaining, "/");
    if (n > 0 && (size_t)n < remaining) {
      offset += (size_t)n;
      remaining -= (size_t)n;
    }
  }
}

// Function to generate sine wave lookup table for low frequency
void get_sineval_low(void) {
  const float dac_max = 4095.0f;
  const float dac_mid = dac_max / 2.0f;
  const float amplitude = (1.5f / 1.65f) * (SIGNAL_ATTENUATION / 100.0f);

  for (uint16_t i = 0; i < freq_pair.lower_freq_samples; i++) {
    sine_val_low[i] =
        (uint32_t)(dac_mid *
                   (1.0 + sinf(2.0 * pi * i / freq_pair.lower_freq_samples) *
                              amplitude));
  }
}

// Function to generate sine wave lookup table for the high frequency
void get_sineval_high(void) {
  const float dac_max = 4095.0f;
  const float dac_mid = dac_max / 2.0f;
  const float amplitude = (1.5f / 1.65f) * (SIGNAL_ATTENUATION / 100.0f);

  for (uint16_t i = 0; i < freq_pair.higher_freq_samples; i++) {
    sine_val_high[i] =
        (uint32_t)(dac_mid *
                   (1.0 + sinf(2.0 * pi * i / freq_pair.higher_freq_samples) *
                              amplitude));
  }
}

void get_dc_mid(void) {
  uint32_t mid_value = (uint32_t)(4095.0 / 2.0);
  for (uint16_t i = 0; i < freq_pair.lower_freq_samples; i++) {
    dc_mid[i] = mid_value;
  }
}

uint32_t get_dac_sample_rate_hz(void) {
  uint32_t tim_clk = HAL_RCC_GetPCLK1Freq();
  if ((RCC->CFGR & RCC_CFGR_PPRE1) != RCC_CFGR_PPRE1_DIV1)
    tim_clk *= 2; // timer clock doubled if APB prescaler != 1

  return tim_clk / ((htim2.Init.Prescaler + 1) * (htim2.Init.Period + 1));
}

void calculate_active_duration_ms(size_t bitstream_len) {
  fs = get_dac_sample_rate_hz();

  float f_0 = (float)fs / (float)freq_pair.lower_freq_samples;
  float f_1 = (float)fs / (float)freq_pair.higher_freq_samples;

  float f_0_bit_duration = (float)freq_pair.lower_freq_periods / f_0;
  float f_1_bit_duration = (float)freq_pair.higher_freq_periods / f_1;

  // Exact bitstream time
  total_time = 0.0f;
  for (int i = 0; i < bitstream_len; ++i) {
    if (bitstream[i] == 0) {
      total_time += f_0_bit_duration;
    } else if (bitstream[i] == 1) {
      total_time += f_1_bit_duration;
    } else {
      total_time += f_0_bit_duration; // silence
    }
  }

  // Add silence time
  // total_time *= 1.05f;                            // 5% margin
}

static inline FillResult
fill_half_buffer(uint32_t *buffer, size_t generation_size,
                 const uint8_t *bitstream, size_t bitstream_len,
                 size_t bit_index, size_t current_sine_period,
                 size_t current_sine_index) {
  size_t out = 0;
  size_t period = current_sine_period;
  size_t idx = current_sine_index;

  while (out < generation_size) {
    // If finished, just output mid forever (prevents repeats)
    if (bit_index >= bitstream_len) {
      for (; out < generation_size; ++out) {
        buffer[out] = dc_mid[0];
      }
      break;
    }

    uint8_t cur_bit = bitstream[bit_index];

    /* Select LUT + target periods for THIS bit */
    const uint32_t *lut;
    size_t lut_len;
    size_t target_periods;

    if (cur_bit == 0) {
      lut = sine_val_low;
      lut_len = freq_pair.lower_freq_samples;
      target_periods = freq_pair.lower_freq_periods;
    } else if (cur_bit == 1) {
      lut = sine_val_high;
      lut_len = freq_pair.higher_freq_samples;
      target_periods = freq_pair.higher_freq_periods;
    } else { // silence
      lut = dc_mid;
      lut_len = freq_pair.lower_freq_samples;
      target_periods = freq_pair.lower_freq_periods;
    }

    /* Copy as much as we can from current LUT position */
    size_t left_buf = generation_size - out;
    size_t left_lut = lut_len - idx;
    size_t n = (left_buf < left_lut) ? left_buf : left_lut;

    memcpy(&buffer[out], &lut[idx], n * sizeof(uint32_t));
    out += n;
    idx += n;

    /* Completed one period? */
    if (idx == lut_len) {
      idx = 0;
      period++;

      /* Completed this bit? -> advance to next bit */
      if (period == target_periods) {
        period = 0;
        if (bit_index + 1u < bitstream_len) {
          bit_index++;
        } else {
          // reached end -> hold at end
          bit_index = bitstream_len;
        }
      }
    }
  }

  return (FillResult){
      .bit_index = bit_index, .current_period = period, .current_index = idx};
}

// DMA Half Transfer Complete callback
void HAL_DAC_ConvHalfCpltCallbackCh1(DAC_HandleTypeDef *hdac) {
  if (!tx_active)
    return;

  FillResult r =
      fill_half_buffer((uint32_t *)&output_buffer[0], BUFFER_SIZE / 2,
                       bitstream, BITSTREAM_LENGTH, current_bitstream_index,
                       current_sine_period, current_sine_index);

  current_bitstream_index = r.bit_index;
  current_sine_period = r.current_period;
  current_sine_index = r.current_index;
}

// DMA Transfer Complete callback
void HAL_DAC_ConvCpltCallbackCh1(DAC_HandleTypeDef *hdac) {
  if (!tx_active)
    return;

  FillResult r = fill_half_buffer((uint32_t *)&output_buffer[BUFFER_SIZE / 2],
                                  BUFFER_SIZE / 2, bitstream, BITSTREAM_LENGTH,
                                  current_bitstream_index, current_sine_period,
                                  current_sine_index);

  current_bitstream_index = r.bit_index;
  current_sine_period = r.current_period;
  current_sine_index = r.current_index;
}

static void start_audio_arm(void) {
  current_bitstream_index = 0;
  current_sine_period = 0;
  current_sine_index = 0;
  tx_active = true;

  FillResult r1 =
      fill_half_buffer((uint32_t *)&output_buffer[0], BUFFER_SIZE / 2,
                       bitstream, BITSTREAM_LENGTH, current_bitstream_index,
                       current_sine_period, current_sine_index);

  current_bitstream_index = r1.bit_index;
  current_sine_period = r1.current_period;
  current_sine_index = r1.current_index;

  FillResult r2 = fill_half_buffer((uint32_t *)&output_buffer[BUFFER_SIZE / 2],
                                   BUFFER_SIZE / 2, bitstream, BITSTREAM_LENGTH,
                                   current_bitstream_index, current_sine_period,
                                   current_sine_index);

  current_bitstream_index = r2.bit_index;
  current_sine_period = r2.current_period;
  current_sine_index = r2.current_index;

  // Clean start
  HAL_TIM_Base_Stop(&htim2);
  HAL_DAC_Stop_DMA(&hdac1, DAC_CHANNEL_1);

  DMA1->IFCR =
      DMA_IFCR_CGIF1 | DMA_IFCR_CTCIF1 | DMA_IFCR_CHTIF1 | DMA_IFCR_CTEIF1;
  NVIC_ClearPendingIRQ(DMA1_Channel1_IRQn);

  HAL_StatusTypeDef st =
      HAL_DAC_Start_DMA(&hdac1, DAC_CHANNEL_1, (uint32_t *)output_buffer,
                        BUFFER_SIZE, DAC_ALIGN_12B_R);

  if (st != HAL_OK) {
    LOGF("  HAL_DAC_Start_DMA error: %d\r\n", st);
    Error_Handler_Code(STATUS_CODE_TRANSMISSION_ERROR);
  }

  // Ensure trigger enabled; TIM2 not started yet
  SET_BIT(DAC1->CR, DAC_CR_TEN1);
}

static void start_audio_trigger(void) {
  __HAL_TIM_SET_COUNTER(&htim2, 0);
  HAL_StatusTypeDef st = HAL_TIM_Base_Start(&htim2);
  if (st != HAL_OK) {
    LOGF("  HAL_TIM_Base_Start error: %d\r\n", st);
    Error_Handler_Code(STATUS_CODE_TRANSMISSION_ERROR);
  }
}

static void stop_audio_transmission(void) {
  tx_active = false;

  Speaker_TurnOff();
  Relay_SetBypassMode();

  // Stop trigger + DMA first
  HAL_TIM_Base_Stop(&htim2);
  HAL_DAC_Stop_DMA(&hdac1, DAC_CHANNEL_1);

  Opamps_Disable(&hdac1);

  DMA1->IFCR =
      DMA_IFCR_CGIF1 | DMA_IFCR_CTCIF1 | DMA_IFCR_CHTIF1 | DMA_IFCR_CTEIF1;
  NVIC_ClearPendingIRQ(DMA1_Channel1_IRQn);
}

void string_to_hex(const char *str, uint8_t *hex_buf, size_t hex_buf_size) {
  size_t str_len = strlen(str);
  size_t max_bytes =
      (hex_buf_size < (str_len / 2)) ? hex_buf_size : (str_len / 2);

  for (size_t i = 0; i < max_bytes; i++) {
    sscanf(&str[i * 2], "%2hhx", &hex_buf[i]);
  }
}

void process_transmission(uint8_t *transmission, int *dBm_value) {
  size_t len = strlen((const char *)transmission);
  if (len <= 4) {
    LOGF("Transmission too short to process.\r\n");
    return;
  }

  uint8_t rssi_hex = transmission[len - 2]; // 2nd from end

  int8_t rssi_signed = (int8_t)rssi_hex; // 2's complement

  int rssi_dbm = (rssi_signed / 2) - 74; // integer dBm

  dBm_value[0] = (int)rssi_dbm;

  // Create cleaned string: skip first 2 char, skip last 2 chars
  size_t cleaned_len = (len > 4) ? (len - 4) : 0;
  char cleaned_str[MAX_NUM_CHARS] = {0};
  if (cleaned_len > 0) {
    strncpy(cleaned_str, (const char *)transmission + 2, cleaned_len);
    cleaned_str[cleaned_len] = '\0'; // Null-terminate
  }

  // Overwrite the transmission parameter (cast needed for const)
  strncpy((char *)transmission, cleaned_str, MAX_NUM_CHARS - 1);
}

void create_payload_string(const char *user_str, int device_id,
                           const char *location, int8_t temperature,
                           rtc_time_t time_val, bool INCLUDE_MESSAGE_ID,
                           int8_t message_id, int8_t rssi_dbm,
                           uint8_t *output_str, size_t output_str_size) {
  if (!output_str || output_str_size == 0)
    return;

  char temp_buf[256] = {0};
  size_t offset = 0;
  size_t remaining = sizeof(temp_buf);
  int n = 0;

  output_str[0] = '\0';

  // Append MID if enabled
  if (INCLUDE_MESSAGE_ID) {
    n = snprintf(&temp_buf[offset], remaining, "/MID%02d", message_id);
    if (n > 0 && (size_t)n < remaining) {
      offset += (size_t)n;
      remaining -= (size_t)n;
    }
  }

  if (INCLUDE_TIME) {
    n = snprintf(&temp_buf[offset], remaining,
                 "%s/TIM%02d%02d%02d%02d%02d%02d%04d", (offset > 0) ? "" : "",
                 time_val.hours, time_val.minutes, time_val.seconds,
                 time_val.day, time_val.date, time_val.month, time_val.year);
    if (n > 0 && (size_t)n < remaining) {
      offset += (size_t)n;
      remaining -= (size_t)n;
    }
  }

  // // ADD RSSI ONLY IF rssi_dbm IS NOT 0 (RX mode only)
  // // In Standalone mode, rssi_dbm defaults to 0, so this block is skipped
  // if (rssi_dbm != 0) {
  //   n = snprintf(&temp_buf[offset], remaining, "%s/RSSI%d",
  //                (offset > 0) ? "" : "", rssi_dbm);
  //   if (n > 0 && (size_t)n < remaining) {
  //     offset += (size_t)n;
  //     remaining -= (size_t)n;
  //   }
  // }

  if (INCLUDE_USER_STRING) {
    n = snprintf(&temp_buf[offset], remaining, "/STR%s", user_str);
    if (n > 0 && (size_t)n < remaining) {
      offset += (size_t)n;
      remaining -= (size_t)n;
    }
  }

  if (INCLUDE_DEVICE_ID) {
    n = snprintf(&temp_buf[offset], remaining, "%s/DID%d",
                 (offset > 0) ? "" : "", device_id);
    if (n > 0 && (size_t)n < remaining) {
      offset += (size_t)n;
      remaining -= (size_t)n;
    }
  }

  if (INCLUDE_LOCATION) {
    n = snprintf(&temp_buf[offset], remaining, "%s/LOC%s",
                 (offset > 0) ? "" : "", location);
    if (n > 0 && (size_t)n < remaining) {
      offset += (size_t)n;
      remaining -= (size_t)n;
    }
  }

  if (INCLUDE_TEMPERATURE) {
    n = snprintf(&temp_buf[offset], remaining, "%s/TMP%d",
                 (offset > 0) ? "" : "", temperature);
    if (n > 0 && (size_t)n < remaining) {
      offset += (size_t)n;
      remaining -= (size_t)n;
    }
  }

  // Add termination slash
  if (strlen(temp_buf) > 0) {
    n = snprintf(&temp_buf[offset], remaining, "/");
    if (n > 0 && (size_t)n < remaining) {
      offset += (size_t)n;
      remaining -= (size_t)n;
    }
  }

  // Hard guarantee null-termination
  output_str[output_str_size - 1] = '\0';

  // Copy ASCII bytes into uint8_t output buffer
  size_t out_len = strnlen(temp_buf, sizeof(temp_buf));
  if (out_len >= output_str_size) {
    out_len = output_str_size - 1;
  }
  memcpy(output_str, temp_buf, out_len);
  output_str[out_len] = 0x00;
}

void create_string_from_received_data(const uint8_t *transmission,
                                      int dBm_value, uint8_t *output_str,
                                      size_t output_str_size) {
  if (!transmission || !output_str || output_str_size == 0)
    return;

  // Defaults (fallback if missing in RX packet)
  int mid = 0;
  char user_string[64] = USER_STRING;
  int device_id = DEVICE_ID;
  char location[64] = LOCATION;
  int8_t temperature = temp_int;
  rtc_time_t time_val = now;

  // Make local copy for strtok
  char buf[256] = {0};
  strncpy(buf, (const char *)transmission, sizeof(buf) - 1);

  // Parse tokens separated by /
  for (char *tok = strtok(buf, "/"); tok != NULL; tok = strtok(NULL, "/")) {
    // Extract type (first 3 chars) and data (remaining chars)
    if (strlen(tok) < 3)
      continue;

    char type[4] = {0};
    strncpy(type, tok, 3);
    const char *data = tok + 3;

    // Route by type
    if (strcmp(type, "MID") == 0) {
      if (strlen(data) >= 2) {
        char mid_buf[3] = {0};
        strncpy(mid_buf, data, 2);
        mid = atoi(mid_buf);
      }
    } else if (strcmp(type, "TIM") == 0) {
      if (strlen(data) >= 16) {
        int hours = 0, minutes = 0, seconds = 0;
        int day = 0, date = 0, month = 0, year = 0;
        if (sscanf(data, "%2d%2d%2d%2d%2d%2d%4d", &hours, &minutes, &seconds,
                   &day, &date, &month, &year) == 7) {
          time_val.hours = (uint8_t)hours;
          time_val.minutes = (uint8_t)minutes;
          time_val.seconds = (uint8_t)seconds;
          time_val.day = (uint8_t)day;
          time_val.date = (uint8_t)date;
          time_val.month = (uint8_t)month;
          time_val.year = (uint16_t)year;
        }
      }
    } else if (strcmp(type, "STR") == 0) {
      strncpy(user_string, data, sizeof(user_string) - 1);
    }
  }

  // CHANGED: Pass dBm_value (RSSI) to create_payload_string for RX mode
  // re-transmission This embeds RSSI in the watermark:
  // /MID00/TIM.../RSSI-75/STRHello/... Standalone mode does NOT call this
  // function, so it has no RSSI
  create_payload_string(user_string, device_id, location, temperature, time_val,
                        true, mid, (int8_t)dBm_value, output_str,
                        output_str_size);
}

static int init_luts_from_freqpair(void) {
  if (freq_pair.lower_freq_samples > LUT_LOW_SAMPLES ||
      freq_pair.higher_freq_samples > LUT_HIGH_SAMPLES) {
    return -1;
  }
  return 0;
}

void Error_Handler_Code(status_code_t code) {
  g_error_code = code;
  // Error_Handler(); // call the CubeMX-compatible one
}

int _write(int file, char *ptr, int len) {
  (void)file;
  HAL_UART_Transmit(&huart2, (uint8_t *)ptr, len, 100);
  uint32_t start = HAL_GetTick();
  while (CDC_Transmit_FS((uint8_t *)ptr, len) == USBD_BUSY) {
    if (HAL_GetTick() - start > 10)
      break;
  }
  return len;
}

static void RTC_SetWakeupTimer(uint32_t seconds) {
  HAL_RTCEx_DeactivateWakeUpTimer(&hrtc);
  __HAL_RTC_WAKEUPTIMER_CLEAR_FLAG(&hrtc, RTC_FLAG_WUTF);

  if (seconds == 0) {
    seconds = 1;
  }

  if (HAL_RTCEx_SetWakeUpTimer_IT(&hrtc, seconds - 1,
                                  RTC_WAKEUPCLOCK_CK_SPRE_16BITS) != HAL_OK) {
    Error_Handler_Code(STATUS_CODE_UNKNOWN_ERROR);
  }
}

void TryReceiveTimeSync(void) {
  DS3231_PowerOn();
  HAL_Delay(10);

  LOGF("Waiting for time sync (10s)...\r\n");

  char buf[32] = {0};
  uint32_t start = HAL_GetTick();
  uint32_t last_ready = 0;

  while (HAL_GetTick() - start < 10000) {
    if (HAL_GetTick() - last_ready >= 500) {
      LOGF("READY_FOR_TIME_SYNC\r\n");
      last_ready = HAL_GetTick();
    }

    if (cdc_rx_len > 0) {
      uint8_t len = cdc_rx_len;
      cdc_rx_len = 0;
      memcpy(buf, (uint8_t *)cdc_rx_buf, len);
      buf[len] = '\0';

      for (int i = 0; i < len; i++) {
        if (buf[i] == '\r' || buf[i] == '\n') {
          buf[i] = '\0';
          break;
        }
      }

      if (buf[0] == 'T') {
        int h, m, s, dow, day, mon, year;
        if (sscanf(buf + 1, "%d:%d:%d %d %d/%d/%d", &h, &m, &s, &dow, &day,
                   &mon, &year) == 7) {

          DS3231_Init();
          DS3231_SetTime(s, m, h, dow, day, mon, year);

          LOGF("Time synced: %02d:%02d:%02d %02d/%02d/%04d\r\n", h, m, s, day,
               mon, year);
          LED_Toggle();
          HAL_Delay(50);
          LED_Toggle();
          return;
        }
      }
    }

    HAL_Delay(10);
  }

  LOGF("No time sync received\r\n");
  LED_Toggle();
  HAL_Delay(50);
  LED_Toggle();
  LED_Toggle();
  HAL_Delay(50);
  LED_Toggle();
  DS3231_PowerOff();
}

/* USER CODE END 4 */

void Error_Handler(void) {
  /* USER CODE BEGIN Error_Handler_Debug */
  LOGF("Error_Handler: code=%d\r\n", (int)g_error_code);

  // Turn off relay and opamps to save power (optional, depending on
  // error)
  Relay_SetBypassMode();
  Opamps_Disable(&hdac1);

  // Blink error code
  LED_BlinkStatusCode((uint8_t)g_error_code);

  LED_ON();

  __disable_irq();
  while (1) {
    // Stay here - reset or power cycle needed
  }
  /* USER CODE END Error_Handler_Debug */
}
#ifdef USE_FULL_ASSERT
/**
 * @brief  Reports the name of the source file and the source line number
 *         where the assert_param error has occurred.
 * @param  file: pointer to the source file name
 * @param  line: assert_param error line source number
 * @retval None
 */
void assert_failed(uint8_t *file, uint32_t line) {
  /* USER CODE BEGIN 6 */
  /* User can add his own implementation to report the file name and line
     number, ex: printf("Wrong parameters value: file %s on line %d\r\n",
     file, line) */
  /* USER CODE END 6 */
}
#endif /* USE_FULL_ASSERT */
